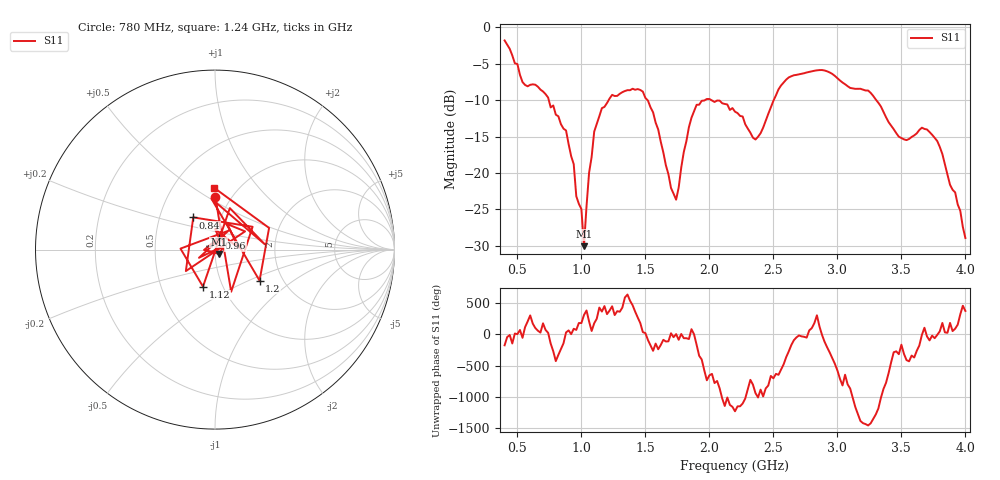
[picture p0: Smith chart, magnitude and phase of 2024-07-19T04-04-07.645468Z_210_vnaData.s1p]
!Created with skrf (http://scikit-rf.org).
# Hz S RI R 50.0
!freq ReS11 ImS11
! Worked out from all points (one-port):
!   181 points, 400 MHz to 4 GHz, reference 50 ohm
!   lowest |S11| = -30.1 dB at 1.02 GHz (marker M1), VSWR 1.06, Z = 52 - j2.49 ohm
!   |S11| at or under -10 dB: 745.3 MHz to 1.213 GHz (467.3 MHz wide, 47.7 % of centre); 2.016 GHz to 2.502 GHz (486.8 MHz wide, 21.6 % of centre); 3.304 GHz to end of sweep (the widest 3 of 4)
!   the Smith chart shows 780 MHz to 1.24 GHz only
!   S11 on the Smith chart (normalised r, x): 780 MHz: 0.85, +0.54; 840 MHz: 0.74, +0.28; 960 MHz: 1.03, +0.14; 1.12 GHz: 0.81, -0.35; 1.2 GHz: 1.53, -0.58; 1.24 GHz: 0.78, +0.61
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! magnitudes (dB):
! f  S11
! 400 MHz  -1.8
! 540 MHz  -7.5
! 780 MHz  -10.7
! 840 MHz  -13.3
! 860 MHz  -13.9
! 940 MHz  -18.8
! 960 MHz  -23.2
! 1 GHz  -25.0
! 1.02 GHz  -30.1
! 1.06 GHz  -20.0
! 1.12 GHz  -13.3
! 1.2 GHz  -10.4
! 1.24 GHz  -9.3
! 1.3 GHz  -9.1
! 1.48 GHz  -8.8
! 1.6 GHz  -14.0
! 1.7 GHz  -22.1
! 1.76 GHz  -22.0
! 1.84 GHz  -13.7
! 1.9 GHz  -10.6
! 2.2 GHz  -11.6
! 2.36 GHz  -15.4
! 2.66 GHz  -6.6
! 3.1 GHz  -8.3
! 3.24 GHz  -8.7
! 3.56 GHz  -15.3
! 3.78 GHz  -15.6
! 4 GHz  -28.9
